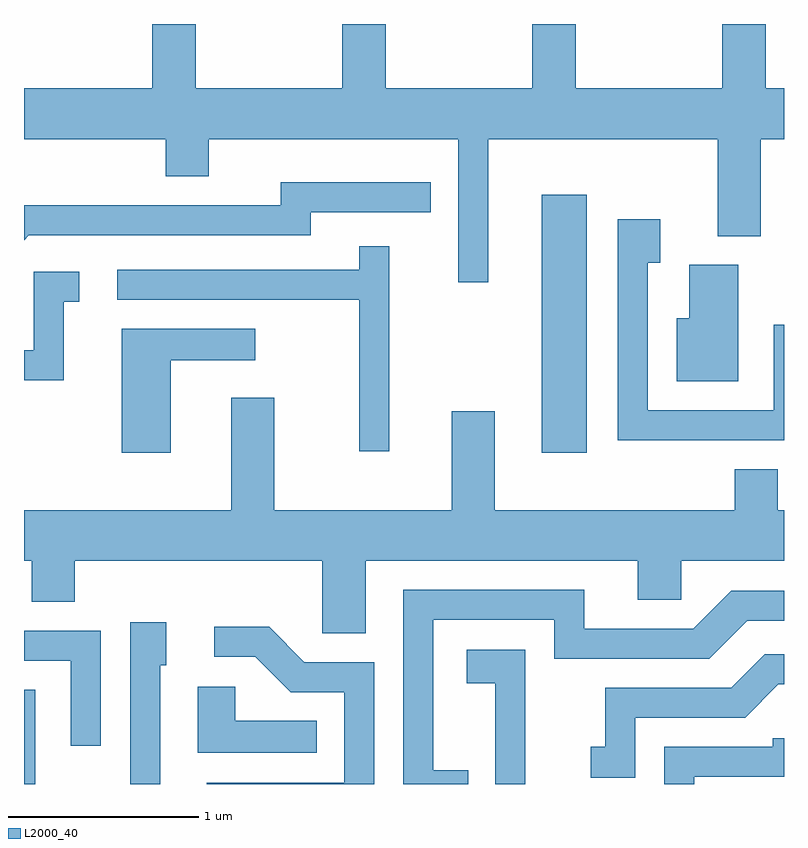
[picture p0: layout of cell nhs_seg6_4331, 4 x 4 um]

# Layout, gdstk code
import gdstk
lib = gdstk.Library(unit=1e-6, precision=1e-09)
def R(c, l, rs):  # rectangles x0, y0, x1, y1
    for r in rs: c.add(gdstk.rectangle(r[:2], r[2:], *l))
def P(c, l, *ps):  # polygons
    for p in ps: c.add(gdstk.Polygon(p, *l))
L2000_40 = (2000, 40)

nhs_seg6_4331 = lib.new_cell('nhs_seg6_4331')
R(nhs_seg6_4331, L2000_40, [(317.611,1582.162,317.669,1582.659), (320.336,1583.906,320.574,1585.264)])
P(nhs_seg6_4331, L2000_40, [(320.054,1585.556),(321.261,1585.556),(321.261,1585.046),(321.489,1585.046),(321.489,1585.556),(321.611,1585.556),(321.611,1585.824),(321.514,1585.824),(321.514,1586.162),(321.286,1586.162),(321.286,1585.824),(320.514,1585.824),(320.514,1586.162),(320.286,1586.162),(320.286,1585.824),(319.514,1585.824),(319.514,1586.162),(319.286,1586.162),(319.286,1585.824),(318.514,1585.824),(318.514,1586.162),(318.286,1586.162),(318.286,1585.824),(317.611,1585.824),(317.611,1585.556),(318.356,1585.556),(318.356,1585.361),(318.584,1585.361),(318.584,1585.556),(319.896,1585.556),(319.896,1584.803),(320.054,1584.803)],
  [(317.637,1585.051),(319.119,1585.051),(319.119,1585.171),(319.753,1585.171),(319.753,1585.329),(318.961,1585.329),(318.961,1585.209),(317.611,1585.209),(317.611,1585.025)],
  [(321.611,1584.578),(321.556,1584.578),(321.556,1584.129),(320.894,1584.129),(320.894,1584.906),(320.959,1584.906),(320.959,1585.134),(320.736,1585.134),(320.736,1583.971),(321.611,1583.971)],
  [(319.534,1584.993),(319.376,1584.993),(319.376,1584.869),(318.103,1584.869),(318.103,1584.711),(319.376,1584.711),(319.376,1583.913),(319.534,1583.913)],
  [(321.369,1584.894),(321.111,1584.894),(321.111,1584.614),(321.046,1584.614),(321.046,1584.281),(321.369,1584.281)],
  [(317.819,1584.701),(317.903,1584.701),(317.903,1584.859),(317.661,1584.859),(317.661,1584.444),(317.611,1584.444),(317.611,1584.286),(317.819,1584.286)],
  [(318.384,1584.391),(318.828,1584.391),(318.828,1584.559),(318.126,1584.559),(318.126,1583.906),(318.384,1583.906)],
  [(320.089,1584.124),(319.861,1584.124),(319.861,1583.604),(318.929,1583.604),(318.929,1584.194),(318.701,1584.194),(318.701,1583.604),(317.611,1583.604),(317.611,1583.336),(317.651,1583.336),(317.651,1583.121),(317.879,1583.121),(317.879,1583.336),(319.181,1583.336),(319.181,1582.956),(319.409,1582.956),(319.409,1583.336),(320.841,1583.336),(320.841,1583.131),(321.069,1583.131),(321.069,1583.336),(321.611,1583.336),(321.611,1583.604),(321.579,1583.604),(321.579,1583.819),(321.351,1583.819),(321.351,1583.604),(320.089,1583.604)],
  [(319.948,1582.234),(319.764,1582.234),(319.764,1583.026),(320.401,1583.026),(320.401,1582.821),(321.217,1582.821),(321.417,1583.021),(321.611,1583.021),(321.611,1583.179),(321.334,1583.179),(321.134,1582.979),(320.559,1582.979),(320.559,1583.184),(319.606,1583.184),(319.606,1582.162),(319.948,1582.162)],
  [(318.329,1582.786),(318.359,1582.786),(318.359,1583.014),(318.171,1583.014),(318.171,1582.162),(318.329,1582.162)],
  [(319.454,1582.804),(319.087,1582.804),(318.902,1582.989),(318.613,1582.989),(318.613,1582.831),(318.829,1582.831),(319.014,1582.646),(319.296,1582.646),(319.296,1582.169),(318.573,1582.169),(318.573,1582.162),(319.454,1582.162)],
  [(318.014,1582.969),(317.611,1582.969),(317.611,1582.811),(317.856,1582.811),(317.856,1582.363),(318.014,1582.363)],
  [(320.249,1582.869),(319.941,1582.869),(319.941,1582.691),(320.091,1582.691),(320.091,1582.162),(320.249,1582.162)],
  [(320.829,1582.511),(321.407,1582.511),(321.582,1582.686),(321.611,1582.686),(321.611,1582.844),(321.509,1582.844),(321.334,1582.669),(320.671,1582.669),(320.671,1582.359),(320.593,1582.359),(320.593,1582.196),(320.829,1582.196)],
  [(319.153,1582.494),(318.724,1582.494),(318.724,1582.674),(318.526,1582.674),(318.526,1582.326),(319.153,1582.326)],
  [(321.139,1582.201),(321.611,1582.201),(321.611,1582.404),(321.551,1582.404),(321.551,1582.359),(320.981,1582.359),(320.981,1582.162),(321.139,1582.162)])

lib.write_gds('nhs_seg6_4331.gds')
